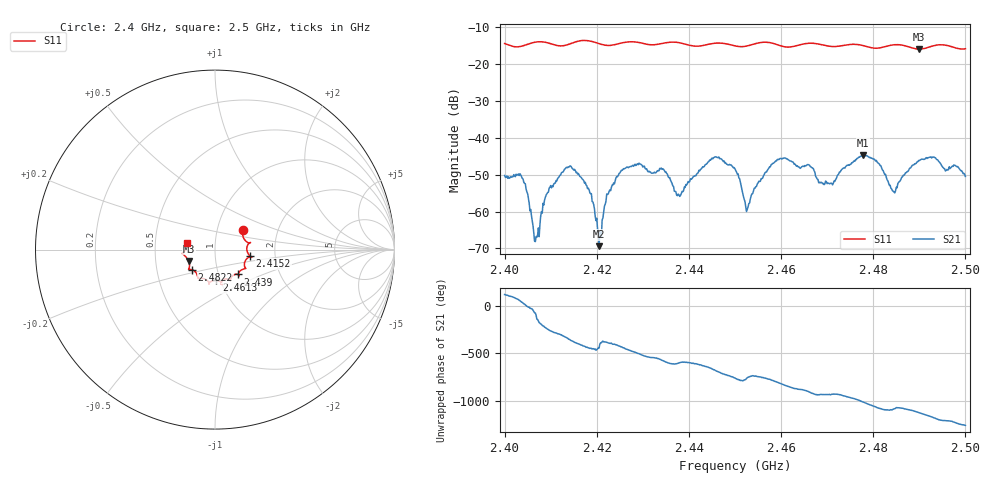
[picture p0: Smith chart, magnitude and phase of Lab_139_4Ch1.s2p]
# Hz S RI R 50
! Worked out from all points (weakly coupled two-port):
!   601 points, 2.4 GHz to 2.5 GHz, reference 50 ohm
!   highest |S21| = -44.74 dB at 2.4778 GHz (marker M1); lowest = -69.4 dB at 2.4205 GHz (marker M2)
!   lowest |S11| = -15.9 dB at 2.49 GHz (marker M3), VSWR 1.38, Z = 36.9 - j4.84 ohm
!   |S11| at or under -10 dB: start of sweep to end of sweep
!   S12 and S22 are empty: the file has one direction only
!   S11 on the Smith chart (normalised r, x): 2.4 GHz: 1.33, +0.31; 2.4152 GHz: 1.48, -0.11; 2.439 GHz: 1.24, -0.36; 2.4613 GHz: 0.96, -0.34; 2.4822 GHz: 0.76, -0.17; 2.5 GHz: 0.72, +0.05
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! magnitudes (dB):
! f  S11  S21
! 2.4 GHz  -14.4  -50.2
! 2.4038 GHz  -15.1  -50.9
! 2.407 GHz  -14.0  -67.0
! 2.4095 GHz  -14.2  -54.7
! 2.4152 GHz  -14.1  -48.5
! 2.4167 GHz  -13.6  -50.8
! 2.4205 GHz  -14.4  -69.4
! 2.4223 GHz  -14.9  -55.3
! 2.4253 GHz  -14.3  -48.8
! 2.4333 GHz  -14.6  -48.9
! 2.439 GHz  -14.5  -53.3
! 2.4455 GHz  -14.3  -45.3
! 2.45 GHz  -15.0  -48.4
! 2.4527 GHz  -15.0  -59.3
! 2.4613 GHz  -15.4  -45.7
! 2.4667 GHz  -14.3  -48.1
! 2.4708 GHz  -15.2  -52.3
! 2.4778 GHz  -15.0  -44.7
! 2.4822 GHz  -15.4  -48.9
! 2.4833 GHz  -15.0  -52.2
! 2.49 GHz  -15.9  -46.2
! 2.5 GHz  -15.8  -50.5
